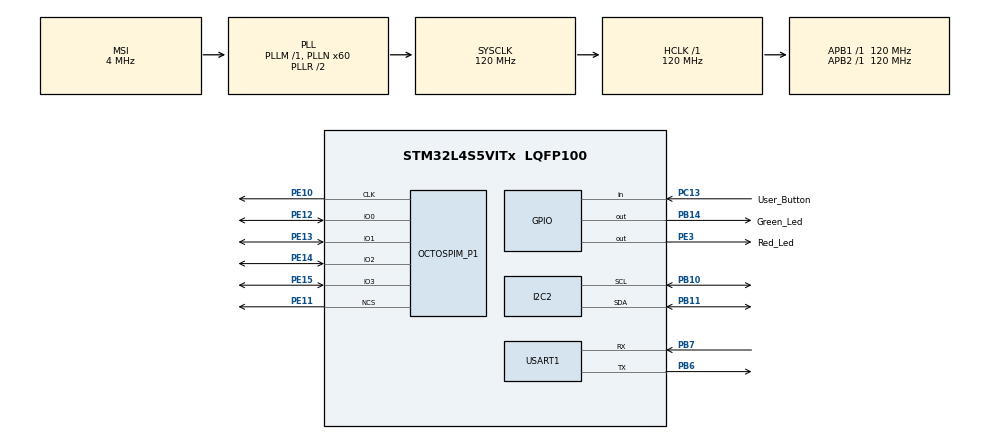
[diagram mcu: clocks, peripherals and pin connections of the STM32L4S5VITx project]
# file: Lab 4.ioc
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FREERTOS.Tasks01=readSensors_Tas,0,220,readFromSensors,Default,NULL,Dynamic,NULL,NULL;UART_Task,0,280,transmitViaUART,Default,NULL,Dynamic,NULL,NULL;buttonPress_Tas,0,128,hasButtonBeenPressed,Default,NULL,Dynamic,NULL,NULL
FREERTOS.configUSE_NEWLIB_REENTRANT=1
I2C2.Timing=0x307075B1
Mcu.Family=STM32L4
Mcu.Name=STM32L4S5VITx
Mcu.Package=LQFP100
NVIC.PriorityGroup=NVIC_PRIORITYGROUP_4
NVIC.TIM6_DAC_IRQn=true\:15\:0\:false\:false\:true\:false\:false\:true\:true
NVIC.TimeBase=TIM6_DAC_IRQn
NVIC.TimeBaseIP=TIM6
OCTOSPI1.MemoryType=HAL_OSPI_MEMTYPE_MACRONIX
PB10.Mode=I2C
PB10.Signal=I2C2_SCL
PB11.Mode=I2C
PB11.Signal=I2C2_SDA
PB14.GPIO_Label=Green_Led
PB14.Signal=GPIO_Output
PB6.Mode=Asynchronous
PB6.Signal=USART1_TX
PB7.Mode=Asynchronous
PB7.Signal=USART1_RX
PC13.GPIO_Label=User_Button
PC13.Signal=GPIO_Input
PE10.Mode=O1_P1_CLK
PE10.Signal=OCTOSPIM_P1_CLK
PE11.Mode=OCTOSPI1_Port1_NCS
PE11.Signal=OCTOSPIM_P1_NCS
PE12.Mode=OCTOSPI1_IOL_Port1L
PE12.Signal=OCTOSPIM_P1_IO0
PE13.Mode=OCTOSPI1_IOL_Port1L
PE13.Signal=OCTOSPIM_P1_IO1
PE14.Mode=OCTOSPI1_IOL_Port1L
PE14.Signal=OCTOSPIM_P1_IO2
PE15.Mode=OCTOSPI1_IOL_Port1L
PE15.Signal=OCTOSPIM_P1_IO3
PE3.GPIO_Label=Red_Led
PE3.Signal=GPIO_Output
ProjectManager.HeapSize=0x200
ProjectManager.StackSize=0x400
ProjectManager.TargetToolchain=STM32CubeIDE
RCC.AHBFreq_Value=120000000
RCC.APB1Freq_Value=120000000
RCC.APB1TimFreq_Value=120000000
RCC.APB2Freq_Value=120000000
RCC.APB2TimFreq_Value=120000000
RCC.CortexFreq_Value=120000000
RCC.HCLKFreq_Value=120000000
RCC.HSE_VALUE=8000000
RCC.HSI48_VALUE=48000000
RCC.HSI_VALUE=16000000
RCC.LSE_VALUE=32768
RCC.MSI_VALUE=4000000
RCC.PLLN=60
RCC.SYSCLKFreq_VALUE=120000000
RCC.SYSCLKSource=RCC_SYSCLKSOURCE_PLLCLK
RCC.VCOOutputFreq_Value=240000000
USART1.VirtualMode-Asynchronous=VM_ASYNC
VP_FREERTOS_VS_CMSIS_V1.Mode=CMSIS_V1
VP_OCTOSPI1_VS_quad.Mode=quad_mode
VP_SYS_VS_tim6.Mode=TIM6
board=custom

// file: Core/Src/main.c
/* USER CODE BEGIN Header */
/**
  ******************************************************************************
  * @file           : main.c
  * @brief          : Main program body
  ******************************************************************************
  * @attention
  *
  * Copyright (c) 2023 STMicroelectronics.
  * All rights reserved.
  *
  * This software is licensed under terms that can be found in the LICENSE file
  * in the root directory of this software component.
  * If no LICENSE file comes with this software, it is provided AS-IS.
  *
  ******************************************************************************
  */
/* USER CODE END Header */
#include "main.h"
#include "cmsis_os.h"

/* USER CODE BEGIN Includes */
#include "string.h"

#include "stm32l4s5i_iot01_accelero.h"
#include "stm32l4s5i_iot01_gyro.h"
#include "stm32l4s5i_iot01_hsensor.h"
#include "stm32l4s5i_iot01_magneto.h"
#include "stm32l4s5i_iot01_psensor.h"
#include "stm32l4s5i_iot01_tsensor.h"
#include "stm32l4s5i_iot01_qspi.h"

/* USER CODE END Includes */

I2C_HandleTypeDef hi2c2;

OSPI_HandleTypeDef hospi1;

UART_HandleTypeDef huart1;

osThreadId readSensors_TasHandle;
osThreadId UART_TaskHandle;
osThreadId buttonPress_TasHandle;
/* USER CODE BEGIN PV */

char buffer[200];

int16_t gyro[3];

int16_t magneto[3];

int16_t temp[1];

int16_t pressure[1];

int counter = -1;

int deleting = 0;

int hasPassed = 0;

int gettingAverages = 0;

int pleasePrint = 0;

int32_t samplesGyro= 0, samplesMagneto= 0, samplesTemp= 0, samplesPressure = 0;

int32_t xGyroAverage= 0, yGyroAverage= 0, zGyroAverage = 0;

int32_t xMagnetoAverage= 0, yMagnetoAverage= 0, zMagnetoAverage = 0;

int32_t xGyroVariance = 0, yGyroVariance = 0, zGyroVariance = 0;

int32_t xMagnetoVariance = 0, yMagnetoVariance = 0, zMagnetoVariance = 0;

int32_t pressureAverage = 0, temperatureAverage = 0;

int32_t pressureVariance = 0, temperatureVariance = 0;

//Addresses are: 0x00000000, 0x00010000, 0x00020000, 0x00030000, 0x00040000, 0x00050000, 0x00060000, 0x00070000

/* USER CODE END PV */

void SystemClock_Config(void);
static void MX_GPIO_Init(void);
static void MX_I2C2_Init(void);
static void MX_USART1_UART_Init(void);
static void MX_OCTOSPI1_Init(void);
void readFromSensors(void const * argument);
void transmitViaUART(void const * argument);
void hasButtonBeenPressed(void const * argument);

/* USER CODE BEGIN PFP */

void Error_Handler(void);
void deleteBlocks(void);

/* USER CODE END PFP */

int main(void)
{

  /* MCU Configuration--------------------------------------------------------*/

  /* Reset of all peripherals, Initializes the Flash interface and the Systick. */
  HAL_Init();

  /* Configure the system clock */
  SystemClock_Config();

  /* Initialize all configured peripherals */
  MX_GPIO_Init();
  MX_I2C2_Init();
  MX_USART1_UART_Init();
  MX_OCTOSPI1_Init();
  /* USER CODE BEGIN 2 */

//Init all the sensors

  BSP_GYRO_Init();
  BSP_MAGNETO_Init();
  BSP_PSENSOR_Init();
  BSP_TSENSOR_Init();

  //Init the qspi
  if(BSP_QSPI_Init() != QSPI_OK) {
	  Error_Handler();
  }

  //Turn red led off
  HAL_GPIO_WritePin(Red_Led_GPIO_Port, Red_Led_Pin, GPIO_PIN_SET);

  //Delete the memory blocks
  deleteBlocks();

  //Say we are ready
  memset(buffer, 0, 200);
  sprintf(&buffer, "Ready to go \n");
  HAL_UART_Transmit(&huart1, (uint8_t*) buffer, sizeof(buffer), 5000);

  /* USER CODE END 2 */

  /* Create the thread(s) */
  /* definition and creation of readSensors_Tas */
  osThreadDef(readSensors_Tas, readFromSensors, osPriorityNormal, 0, 128);
  readSensors_TasHandle = osThreadCreate(osThread(readSensors_Tas), NULL);

  /* definition and creation of UART_Task */
  osThreadDef(UART_Task, transmitViaUART, osPriorityNormal, 0, 256);
  UART_TaskHandle = osThreadCreate(osThread(UART_Task), NULL);

  /* definition and creation of buttonPress_Tas */
  osThreadDef(buttonPress_Tas, hasButtonBeenPressed, osPriorityNormal, 0, 128);
  buttonPress_TasHandle = osThreadCreate(osThread(buttonPress_Tas), NULL);

  /* Start scheduler */
  osKernelStart();

  /* We should never get here as control is now taken by the scheduler */
  /* Infinite loop */
  while (1)
  {

  }
}

void SystemClock_Config(void)
{
  RCC_OscInitTypeDef RCC_OscInitStruct = {0};
  RCC_ClkInitTypeDef RCC_ClkInitStruct = {0};

  /** Configure the main internal regulator output voltage
  */
  if (HAL_PWREx_ControlVoltageScaling(PWR_REGULATOR_VOLTAGE_SCALE1_BOOST) != HAL_OK)
  {
    Error_Handler();
  }

  /** Initializes the RCC Oscillators according to the specified parameters
  * in the RCC_OscInitTypeDef structure.
  */
  RCC_OscInitStruct.OscillatorType = RCC_OSCILLATORTYPE_MSI;
  RCC_OscInitStruct.MSIState = RCC_MSI_ON;
  RCC_OscInitStruct.MSICalibrationValue = 0;
  RCC_OscInitStruct.MSIClockRange = RCC_MSIRANGE_6;
  RCC_OscInitStruct.PLL.PLLState = RCC_PLL_ON;
  RCC_OscInitStruct.PLL.PLLSource = RCC_PLLSOURCE_MSI;
  RCC_OscInitStruct.PLL.PLLM = 1;
  RCC_OscInitStruct.PLL.PLLN = 60;
  RCC_OscInitStruct.PLL.PLLP = RCC_PLLP_DIV2;
  RCC_OscInitStruct.PLL.PLLQ = RCC_PLLQ_DIV2;
  RCC_OscInitStruct.PLL.PLLR = RCC_PLLR_DIV2;
  if (HAL_RCC_OscConfig(&RCC_OscInitStruct) != HAL_OK)
  {
    Error_Handler();
  }

  /** Initializes the CPU, AHB and APB buses clocks
  */
  RCC_ClkInitStruct.ClockType = RCC_CLOCKTYPE_HCLK|RCC_CLOCKTYPE_SYSCLK
                              |RCC_CLOCKTYPE_PCLK1|RCC_CLOCKTYPE_PCLK2;
  RCC_ClkInitStruct.SYSCLKSource = RCC_SYSCLKSOURCE_PLLCLK;
  RCC_ClkInitStruct.AHBCLKDivider = RCC_SYSCLK_DIV1;
  RCC_ClkInitStruct.APB1CLKDivider = RCC_HCLK_DIV1;
  RCC_ClkInitStruct.APB2CLKDivider = RCC_HCLK_DIV1;

  if (HAL_RCC_ClockConfig(&RCC_ClkInitStruct, FLASH_LATENCY_5) != HAL_OK)
  {
    Error_Handler();
  }
}

static void MX_I2C2_Init(void)
{

  hi2c2.Instance = I2C2;
  hi2c2.Init.Timing = 0x307075B1;
  hi2c2.Init.OwnAddress1 = 0;
  hi2c2.Init.AddressingMode = I2C_ADDRESSINGMODE_7BIT;
  hi2c2.Init.DualAddressMode = I2C_DUALADDRESS_DISABLE;
  hi2c2.Init.OwnAddress2 = 0;
  hi2c2.Init.OwnAddress2Masks = I2C_OA2_NOMASK;
  hi2c2.Init.GeneralCallMode = I2C_GENERALCALL_DISABLE;
  hi2c2.Init.NoStretchMode = I2C_NOSTRETCH_DISABLE;
  if (HAL_I2C_Init(&hi2c2) != HAL_OK)
  {
    Error_Handler();
  }

  /** Configure Analogue filter
  */
  if (HAL_I2CEx_ConfigAnalogFilter(&hi2c2, I2C_ANALOGFILTER_ENABLE) != HAL_OK)
  {
    Error_Handler();
  }

  /** Configure Digital filter
  */
  if (HAL_I2CEx_ConfigDigitalFilter(&hi2c2, 0) != HAL_OK)
  {
    Error_Handler();
  }

}

static void MX_OCTOSPI1_Init(void)
{

  OSPIM_CfgTypeDef OSPIM_Cfg_Struct = {0};

  /* OCTOSPI1 parameter configuration*/
  hospi1.Instance = OCTOSPI1;
  hospi1.Init.FifoThreshold = 1;
  hospi1.Init.DualQuad = HAL_OSPI_DUALQUAD_DISABLE;
  hospi1.Init.MemoryType = HAL_OSPI_MEMTYPE_MACRONIX;
  hospi1.Init.DeviceSize = 32;
  hospi1.Init.ChipSelectHighTime = 1;
  hospi1.Init.FreeRunningClock = HAL_OSPI_FREERUNCLK_DISABLE;
  hospi1.Init.ClockMode = HAL_OSPI_CLOCK_MODE_0;
  hospi1.Init.ClockPrescaler = 1;
  hospi1.Init.SampleShifting = HAL_OSPI_SAMPLE_SHIFTING_NONE;
  hospi1.Init.DelayHoldQuarterCycle = HAL_OSPI_DHQC_DISABLE;
  hospi1.Init.ChipSelectBoundary = 0;
  hospi1.Init.DelayBlockBypass = HAL_OSPI_DELAY_BLOCK_BYPASSED;
  if (HAL_OSPI_Init(&hospi1) != HAL_OK)
  {
    Error_Handler();
  }
  OSPIM_Cfg_Struct.ClkPort = 1;
  OSPIM_Cfg_Struct.NCSPort = 1;
  OSPIM_Cfg_Struct.IOLowPort = HAL_OSPIM_IOPORT_1_LOW;
  if (HAL_OSPIM_Config(&hospi1, &OSPIM_Cfg_Struct, HAL_OSPI_TIMEOUT_DEFAULT_VALUE) != HAL_OK)
  {
    Error_Handler();
  }

}

static void MX_USART1_UART_Init(void)
{

  huart1.Instance = USART1;
  huart1.Init.BaudRate = 115200;
  huart1.Init.WordLength = UART_WORDLENGTH_8B;
  huart1.Init.StopBits = UART_STOPBITS_1;
  huart1.Init.Parity = UART_PARITY_NONE;
  huart1.Init.Mode = UART_MODE_TX_RX;
  huart1.Init.HwFlowCtl = UART_HWCONTROL_NONE;
  huart1.Init.OverSampling = UART_OVERSAMPLING_16;
  huart1.Init.OneBitSampling = UART_ONE_BIT_SAMPLE_DISABLE;
  huart1.Init.ClockPrescaler = UART_PRESCALER_DIV1;
  huart1.AdvancedInit.AdvFeatureInit = UART_ADVFEATURE_NO_INIT;
  if (HAL_UART_Init(&huart1) != HAL_OK)
  {
    Error_Handler();
  }
  if (HAL_UARTEx_SetTxFifoThreshold(&huart1, UART_TXFIFO_THRESHOLD_1_8) != HAL_OK)
  {
    Error_Handler();
  }
  if (HAL_UARTEx_SetRxFifoThreshold(&huart1, UART_RXFIFO_THRESHOLD_1_8) != HAL_OK)
  {
    Error_Handler();
  }
  if (HAL_UARTEx_DisableFifoMode(&huart1) != HAL_OK)
  {
    Error_Handler();
  }

}

static void MX_GPIO_Init(void)
{
  GPIO_InitTypeDef GPIO_InitStruct = {0};

  /* GPIO Ports Clock Enable */
  __HAL_RCC_GPIOE_CLK_ENABLE();
  __HAL_RCC_GPIOC_CLK_ENABLE();
  __HAL_RCC_GPIOB_CLK_ENABLE();

  /*Configure GPIO pin Output Level */
  HAL_GPIO_WritePin(Red_Led_GPIO_Port, Red_Led_Pin, GPIO_PIN_RESET);

  /*Configure GPIO pin Output Level */
  HAL_GPIO_WritePin(Green_Led_GPIO_Port, Green_Led_Pin, GPIO_PIN_RESET);

  /*Configure GPIO pin : Red_Led_Pin */
  GPIO_InitStruct.Pin = Red_Led_Pin;
  GPIO_InitStruct.Mode = GPIO_MODE_OUTPUT_PP;
  GPIO_InitStruct.Pull = GPIO_NOPULL;
  GPIO_InitStruct.Speed = GPIO_SPEED_FREQ_LOW;
  HAL_GPIO_Init(Red_Led_GPIO_Port, &GPIO_InitStruct);

  /*Configure GPIO pin : User_Button_Pin */
  GPIO_InitStruct.Pin = User_Button_Pin;
  GPIO_InitStruct.Mode = GPIO_MODE_INPUT;
  GPIO_InitStruct.Pull = GPIO_NOPULL;
  HAL_GPIO_Init(User_Button_GPIO_Port, &GPIO_InitStruct);

  /*Configure GPIO pin : Green_Led_Pin */
  GPIO_InitStruct.Pin = Green_Led_Pin;
  GPIO_InitStruct.Mode = GPIO_MODE_OUTPUT_PP;
  GPIO_InitStruct.Pull = GPIO_NOPULL;
  GPIO_InitStruct.Speed = GPIO_SPEED_FREQ_LOW;
  HAL_GPIO_Init(Green_Led_GPIO_Port, &GPIO_InitStruct);

}

/* USER CODE BEGIN 4 */

void getPressureAverage(){

		int16_t pressureArray[samplesPressure]; // Create an array to store the values

		memset(pressureArray, 0, samplesPressure);

		int16_t test[1] = {0};

		// all the values in pressureArray, can calculate the average
		pressureAverage = 0;
		for (int i = 0; i < samplesPressure; i++) {

			if(BSP_QSPI_Read(test, 0x00070000 + sizeof(pressure) * i, sizeof(pressure)) != QSPI_OK)
			{
				Error_Handler();
			}

			pressureArray[i] = test[0];

			pressureAverage += test[0];
		}

		pressureAverage /= samplesPressure;

		//S² = Σ(xi - x̄)² / (n - 1)
		double sumSquaredDeviations = 0.0;

		for (int i = 0; i < samplesPressure; i++) {
			  double deviation = pressureArray[i] - pressureAverage;
			  sumSquaredDeviations += deviation * deviation;
		}

		double sampleVariance = sumSquaredDeviations / (samplesPressure - 1);

		pressureVariance = (int16_t) sampleVariance;

}

void getTemperatureAverage(){

		int16_t temperatureArray[samplesTemp]; // Create an array to store the values
		memset(temperatureArray, 0, samplesTemp);

		int16_t test[1] = {0};

		// all the values in pressureArray, can calculate the average
		temperatureAverage = 0;
		for (int i = 0; i < samplesTemp; i++) {

			if(BSP_QSPI_Read(test, 0x00060000 + sizeof(temp) * i, sizeof(temp)) != QSPI_OK)
			{
				Error_Handler();
			}

			temperatureArray[i] = test[0];

			temperatureAverage += temperatureArray[i];
		}

		temperatureAverage /= samplesTemp;

		//S² = Σ(xi - x̄)² / (n - 1)
		double sumSquaredDeviations = 0.0;

		for (int i = 0; i < samplesTemp; i++) {
		  double deviation = temperatureArray[i] - pressureAverage;
		  sumSquaredDeviations += deviation * deviation;
		}

		double sampleVariance = sumSquaredDeviations / (samplesTemp - 1);

		temperatureVariance = (int16_t) sampleVariance;

}

void getGyroAverage(){

    //populate an array with the max number of sample gotten
    int16_t gyroArray[samplesGyro * 3];
	memset(gyroArray, 0, samplesGyro * 3);

    int16_t test[3];

    xGyroAverage = 0;
    yGyroAverage = 0;
    zGyroAverage = 0;

    for(int i = 0; i < samplesGyro; i++){

    	test[0] = 0;
    	test[1] = 0;
    	test[2] = 0;

        if(BSP_QSPI_Read(test, 0x00000000 + i * sizeof(gyro), sizeof(gyro)) != QSPI_OK)
    	{
        	Error_Handler();
    	}

    	gyroArray[3*i] = test[0];
    	gyroArray[3*i + 1] = test[1];
    	gyroArray[3*i + 2] = test[2];

    	xGyroAverage += test[0]; 	//get x values

    	yGyroAverage += test[1];	//get y values

    	zGyroAverage += test[2];	//get z values

    }

    xGyroAverage /= samplesGyro;
    yGyroAverage /= samplesGyro;
    zGyroAverage /= samplesGyro;

	//S² = Σ(xi - x̄)² / (n - 1)
	double XsumSquaredDeviations, YsumSquaredDeviations, ZsumSquaredDeviations = 0.0;

	for (int i = 0; i < samplesGyro; i++) {
		  double Xdeviation = gyroArray[3*i] - xGyroAverage;
		  XsumSquaredDeviations += Xdeviation * Xdeviation;

		  double Ydeviation = gyroArray[3*i + 1] - yGyroAverage;
		  YsumSquaredDeviations += Ydeviation * Ydeviation;

		  double Zdeviation = gyroArray[3*i + 2] - zGyroAverage;
		  ZsumSquaredDeviations += Zdeviation * Zdeviation;
	}

	double XsampleVariance = XsumSquaredDeviations / (samplesGyro - 1);

	double YsampleVariance = YsumSquaredDeviations / (samplesGyro - 1);

	double ZsampleVariance = ZsumSquaredDeviations / (samplesGyro - 1);

	xGyroVariance = (int32_t) XsampleVariance;
	yGyroVariance = (int32_t) YsampleVariance;
	zGyroVariance = (int32_t) ZsampleVariance;

}

void getMagnetoAverage(){

    //populate an array with the max number of sample gotten
    int16_t magnetoArray[samplesMagneto * 3];
	memset(magnetoArray, 0, samplesMagneto * 3);

    int16_t test[3];

    xMagnetoAverage = 0;
    yMagnetoAverage = 0;
    zMagnetoAverage = 0;

    for(int i = 0; i < samplesMagneto; i++){

    	test[0] = 0;
    	test[1] = 0;
    	test[2] = 0;

        if(BSP_QSPI_Read(test, 0x00030000 + i * sizeof(magneto), sizeof(magneto)) != QSPI_OK)
    	{
        	Error_Handler();
    	}

        magnetoArray[3*i] = test[0];
        magnetoArray[3*i + 1] = test[1];
        magnetoArray[3*i + 2] = test[2];

        xMagnetoAverage += test[0]; 	//get x values

    	yMagnetoAverage += test[1];	//get y values

    	zMagnetoAverage += test[2];	//get z values

    }

    xMagnetoAverage /= samplesGyro;
    yMagnetoAverage /= samplesGyro;
    zMagnetoAverage /= samplesGyro;

	//S² = Σ(xi - x̄)² / (n - 1)
	double XsumSquaredDeviations, YsumSquaredDeviations, ZsumSquaredDeviations = 0.0;

	for (int i = 0; i < samplesGyro; i++) {
		  double Xdeviation = magnetoArray[3*i] - xMagnetoAverage;
		  XsumSquaredDeviations += Xdeviation * Xdeviation;

		  double Ydeviation = magnetoArray[3*i + 1] - xMagnetoAverage;
		  YsumSquaredDeviations += Ydeviation * Ydeviation;

		  double Zdeviation = magnetoArray[3*i + 2] - xMagnetoAverage;
		  ZsumSquaredDeviations += Zdeviation * Zdeviation;
	}

	double XsampleVariance = XsumSquaredDeviations / (samplesMagneto - 1);

	double YsampleVariance = YsumSquaredDeviations / (samplesMagneto - 1);

	double ZsampleVariance = ZsumSquaredDeviations / (samplesMagneto - 1);

	xMagnetoVariance = (int32_t) XsampleVariance;
	yMagnetoVariance = (int32_t) YsampleVariance;
	zMagnetoVariance = (int32_t) ZsampleVariance;

}

void printAllAverages(){

//	//Pressure
//	memset(buffer, 0, 100);
//	sprintf(&buffer, "\nPressure: Number of samples is: %d, ", (int)samplesPressure);
//	HAL_UART_Transmit(&huart1, (uint8_t*) buffer, sizeof(buffer), 5000);
//
//	memset(buffer, 0, 100);
//	sprintf(&buffer, "Average: %d, ", (int)pressureAverage);
//	HAL_UART_Transmit(&huart1, (uint8_t*) buffer, sizeof(buffer), 5000);
//
//	memset(buffer, 0, 100);
//	sprintf(&buffer, "Variance: %d \n", (int)pressureVariance);
//	HAL_UART_Transmit(&huart1, (uint8_t*) buffer, sizeof(buffer), 5000);
//
//	//Temperature
//	memset(buffer, 0, 100);
//	sprintf(&buffer, "\nTemperature: Number of samples is: %d, ", (int)samplesTemp);
//	HAL_UART_Transmit(&huart1, (uint8_t*) buffer, sizeof(buffer), 5000);
//
//	memset(buffer, 0, 100);
//	sprintf(&buffer, "Average: %d, ",(int) temperatureAverage);
//	HAL_UART_Transmit(&huart1, (uint8_t*) buffer, sizeof(buffer), 5000);
//
//	memset(buffer, 0, 100);
//	sprintf(&buffer, "Variance: %d \n",(int) temperatureVariance);
//	HAL_UART_Transmit(&huart1, (uint8_t*) buffer, sizeof(buffer), 5000);
//
//	//Gyro
//	memset(buffer, 0, 100);
//	sprintf(&buffer, "\nGYRO: Number of samples is: %d, ",(int) samplesGyro);
//	HAL_UART_Transmit(&huart1, (uint8_t*) buffer, sizeof(buffer), 5000);
//
//	memset(buffer, 0, 100);
//	sprintf(&buffer, "Average: x: %d, y: %d, z: %d, ",(int) xGyroAverage,(int) yGyroAverage,(int) zGyroAverage);
//	HAL_UART_Transmit(&huart1, (uint8_t*) buffer, sizeof(buffer), 5000);
//
//	memset(buffer, 0, 100);
//	sprintf(&buffer, "Variance: x: %d, y: %d, z: %d \n",(int) xGyroVariance, (int)yGyroVariance,(int) zGyroVariance);
//	HAL_UART_Transmit(&huart1, (uint8_t*) buffer, sizeof(buffer), 5000);
//
//	//Magneto
//	memset(buffer, 0, 100);
//	sprintf(&buffer, "\nMAGNETO: Number of samples is: %d, ",(int) samplesMagneto);
//	HAL_UART_Transmit(&huart1, (uint8_t*) buffer, sizeof(buffer), 5000);
//
//	memset(buffer, 0, 100);
//	sprintf(&buffer, "Average: x: %d, y: %d, z: %d, ", (int)xMagnetoAverage, (int)yMagnetoAverage,(int) zMagnetoAverage);
//	HAL_UART_Transmit(&huart1, (uint8_t*) buffer, sizeof(buffer), 5000);
//
//	memset(buffer, 0, 100);
//	sprintf(&buffer, "Variance: x: %d, y: %d, z: %d \n \n",(int) xMagnetoVariance,(int) yMagnetoVariance,(int) zMagnetoVariance);
//	HAL_UART_Transmit(&huart1, (uint8_t*) buffer, sizeof(buffer), 5000);

	memset(buffer, 0, 200);
	// Pressure
	strcpy(buffer, "\nPressure: Number of samples is: ");
	char samplesPressureStr[20]; // Assuming a reasonable buffer size for the number
	sprintf(samplesPressureStr, "%d, ", (int)samplesPressure);
	strcat(buffer, samplesPressureStr);
	sprintf(samplesPressureStr, "Average: %d, ", (int)pressureAverage);
	strcat(buffer, samplesPressureStr);
	sprintf(samplesPressureStr, "Variance: %d \n", (int)pressureVariance);
	strcat(buffer, samplesPressureStr);
	HAL_UART_Transmit(&huart1, (uint8_t*) buffer, strlen(buffer), 5000);

	memset(buffer, 0, 200);
	// Temperature
	strcpy(buffer, "\nTemperature: Number of samples is: ");
	char samplesTempStr[20];
	sprintf(samplesTempStr, "%d, ", (int)samplesTemp);
	strcat(buffer, samplesTempStr);
	sprintf(samplesTempStr, "Average: %d, ", (int)temperatureAverage);
	strcat(buffer, samplesTempStr);
	sprintf(samplesTempStr, "Variance: %d \n", (int)temperatureVariance);
	strcat(buffer, samplesTempStr);
	HAL_UART_Transmit(&huart1, (uint8_t*) buffer, strlen(buffer), 5000);

	memset(buffer, 0, 200);
	// Gyro
	strcpy(buffer, "\nGYRO: Number of samples is: ");
	char samplesGyroStr[20];
	sprintf(samplesGyroStr, "%d, ", (int)samplesGyro);
	strcat(buffer, samplesGyroStr);
	sprintf(samplesGyroStr, "Average: x: %d, y: %d, z: %d, ", (int)xGyroAverage, (int)yGyroAverage, (int)zGyroAverage);
	strcat(buffer, samplesGyroStr);
	sprintf(samplesGyroStr, "Variance: x: %d, y: %d, z: %d \n", (int)xGyroVariance, (int)yGyroVariance, (int)zGyroVariance);
	strcat(buffer, samplesGyroStr);
	HAL_UART_Transmit(&huart1, (uint8_t*) buffer, strlen(buffer), 5000);

	memset(buffer, 0, 200);
	// Magneto
	strcpy(buffer, "\nMAGNETO: Number of samples is: ");
	char samplesMagnetoStr[20];
	sprintf(samplesMagnetoStr, "%d, ", (int)samplesMagneto);
	strcat(buffer, samplesMagnetoStr);
	sprintf(samplesMagnetoStr, "Average: x: %d, y: %d, z: %d, ", (int)xMagnetoAverage, (int)yMagnetoAverage, (int)zMagnetoAverage);
	strcat(buffer, samplesMagnetoStr);
	sprintf(samplesMagnetoStr, "Variance: x: %d, y: %d, z: %d \n \n", (int)xMagnetoVariance, (int)yMagnetoVariance, (int)zMagnetoVariance);
	strcat(buffer, samplesMagnetoStr);
	HAL_UART_Transmit(&huart1, (uint8_t*) buffer, strlen(buffer), 5000);

//Delete the memory blocks
//	deleteBlocks();
//	samplesGyro = 0;
//	samplesMagneto = 0;
//	samplesTemp = 0;
//	samplesPressure = 0;

	 xGyroVariance = 0, yGyroVariance = 0, zGyroVariance = 0;

	 xMagnetoVariance = 0, yMagnetoVariance = 0, zMagnetoVariance = 0;

}

//Function to delete blocks at 8 different addresses
void deleteBlocks(){

		deleting = 1;
		memset(buffer, 0, 200);
		sprintf(&buffer, "Deleting blocks...\n");
		HAL_UART_Transmit(&huart1, (uint8_t*) buffer, sizeof(buffer), 5000);

	//Get 8 different addresses for 8 different values to be stored

	  	if(BSP_QSPI_Erase_Block(0x00000000) != QSPI_OK){
	  		Error_Handler();
	  	}

	  	if(BSP_QSPI_Erase_Block(0x00010000) != QSPI_OK){
	  		Error_Handler();
	  	}

	  	if(BSP_QSPI_Erase_Block(0x00020000) != QSPI_OK){
	  		Error_Handler();
	  	}

	  	if(BSP_QSPI_Erase_Block(0x00030000) != QSPI_OK){
	  		Error_Handler();
	  	}

	  	if(BSP_QSPI_Erase_Block(0x00040000) != QSPI_OK){
	  		Error_Handler();
	  	}

	  	if(BSP_QSPI_Erase_Block(0x00050000) != QSPI_OK){
	  		Error_Handler();
	  	}

	  	if(BSP_QSPI_Erase_Block(0x00060000) != QSPI_OK){
	  		Error_Handler();
	  	}

	  	if(BSP_QSPI_Erase_Block(0x00070000) != QSPI_OK){
	  		Error_Handler();
	  	}

	  	memset(buffer, 0, 200);
		sprintf(&buffer, "Blocks deleted ! \n");
	  	HAL_UART_Transmit(&huart1, (uint8_t*) buffer, sizeof(buffer), 5000);

	  	deleting = 0;

}

/* USER CODE END 4 */

void readFromSensors(void const * argument)
{
  /* USER CODE BEGIN 5 */
  /* Infinite loop */
  for(;;)
  {
	  osDelay(100);

	  	if(!deleting && !gettingAverages){

	  		if(counter == 0){
	  			BSP_GYRO_GetXYZ(gyro); // (x, y, z)

				//Store gyro x,y,z values
				//Use addresses from 0x00000000 to 0x00030000
				if(BSP_QSPI_Write(gyro, 0x00000000 + sizeof(gyro) * samplesGyro , sizeof(gyro)) != QSPI_OK){
					Error_Handler();
				}
				else{
					samplesGyro++;
				}
			}

	  		else if(counter == 1){
				BSP_MAGNETO_GetXYZ(magneto); // (x, y, z)

				//Store magneto x,y,z values
				//Use addresses from 0x00030000 to 0x00060000
				if(counter == 1 && BSP_QSPI_Write(magneto, 0x00030000 + sizeof(magneto) * samplesMagneto, sizeof(magneto)) != QSPI_OK){
					Error_Handler();
				}
				else{
					samplesMagneto++;
				}
	  		}

	  		else if(counter == 2){

				temp[0] = BSP_TSENSOR_ReadTemp();

				//Store temperature values
				if(counter == 2 && BSP_QSPI_Write(temp, 0x00060000 + sizeof(temp) * samplesTemp, sizeof(temp)) != QSPI_OK){
					Error_Handler();
				}else{
					samplesTemp++;

				}
	  		}

	  		else if(counter == 3){
			   pressure[0] = BSP_PSENSOR_ReadPressure();

				//Store pressure values
				if(counter == 3 && BSP_QSPI_Write(pressure, 0x00070000 + sizeof(pressure) * samplesPressure, sizeof(pressure)) != QSPI_OK){
					Error_Handler();
				}else{
					samplesPressure++;

				}

	  		}
	 }

  }
  /* USER CODE END 5 */
}

void transmitViaUART(void const * argument)
{
  /* USER CODE BEGIN transmitViaUART */
  /* Infinite loop */
  for(;;)
  {
      osDelay(200);

	  	if(counter == 0){

	  		hasPassed = 0;

	  		int x = gyro[0];
	  		int y = gyro[1];
	  		int z = gyro[2];

	  		memset(buffer, 0, 200);
	  		sprintf(&buffer, "GYRO: x: %d, y: %d, z: %d \n", x,y,z);
	  	  	HAL_UART_Transmit(&huart1, (uint8_t*) buffer, sizeof(buffer), 5000);

	  	}

	  	else if(counter == 1){

	  		int x = magneto[0];
	  		int y = magneto[1];
	  		int z = magneto[2];

	  		memset(buffer, 0, 200);
	  		sprintf(&buffer, "Magneto: x: %d, y: %d, z: %d \n", x,y,z);
	  	  	HAL_UART_Transmit(&huart1, (uint8_t*) buffer, sizeof(buffer), 5000);

	  	}

	  	else if(counter == 2){

	  		memset(buffer, 0, 200);
	  		sprintf(&buffer, "Temperature: %d \n", (int) temp[0]);
	  	  	HAL_UART_Transmit(&huart1, (uint8_t*) buffer, sizeof(buffer), 5000);

	  	}

	  	else if(counter == 3){

	  		memset(buffer, 0, 200);
	  		sprintf(&buffer, "Pressure: %d \n", (int) pressure[0]);
	  	  	HAL_UART_Transmit(&huart1, (uint8_t*) buffer, sizeof(buffer), 5000);

	  	}

	  	else if(!hasPassed && counter == 4 ){

	  		osDelay(100);

			memset(buffer, 0, 200);
			sprintf(&buffer, "Getting averages \n");
			HAL_UART_Transmit(&huart1, (uint8_t*) buffer, sizeof(buffer), 5000);

			gettingAverages = 1;
			//osDelay(10);
			getGyroAverage();
			//osDelay(10);
			getMagnetoAverage();
			//osDelay(10);
			getTemperatureAverage();
			//osDelay(10);
			getPressureAverage();

			//osDelay(10);
			printAllAverages();
			//osDelay(10);

	  	  	hasPassed = 1;

			memset(buffer, 0, 200);
			sprintf(&buffer, "Done averages. \n");
			HAL_UART_Transmit(&huart1, (uint8_t*) buffer, sizeof(buffer), 5000);

	  	  	osDelay(500);

			gettingAverages = 0;

	  	  	//counter = 0;
	  	}

	}
  /* USER CODE END transmitViaUART */
}

void hasButtonBeenPressed(void const * argument)
{
  /* USER CODE BEGIN hasButtonBeenPressed */
	int passedBy = 0;

	  /* Infinite loop */
	  for(;;)
	  {

		  osDelay(10);

		GPIO_PinState button_state = HAL_GPIO_ReadPin(User_Button_GPIO_Port, User_Button_Pin);

		 while(button_state == GPIO_PIN_RESET){ // button pressed (when button pushed, grounded)

			 // ensure that do not repeat;
		    	if(!passedBy){
		    		counter = (counter + 1) % 5;
		    		passedBy = 1;
		    	}

		 button_state = HAL_GPIO_ReadPin(User_Button_GPIO_Port, User_Button_Pin);

		 }

		passedBy = 0;

	  }
  /* USER CODE END hasButtonBeenPressed */
}

void HAL_TIM_PeriodElapsedCallback(TIM_HandleTypeDef *htim)
{
  if (htim->Instance == TIM6) {
    HAL_IncTick();
  }
}

void Error_Handler(void)
{
  /* USER CODE BEGIN Error_Handler_Debug */
  /* User can add his own implementation to report the HAL error return state */
  __disable_irq();

  memset(buffer, 0, 100);
  sprintf(&buffer, "Error at error handler \n");
  HAL_UART_Transmit(&huart1, (uint8_t*) buffer, sizeof(buffer), 5000);

  HAL_GPIO_WritePin(Red_Led_GPIO_Port, Red_Led_Pin, GPIO_PIN_RESET);
  __BKPT();

  while (1)
  {
  }
  /* USER CODE END Error_Handler_Debug */
}
